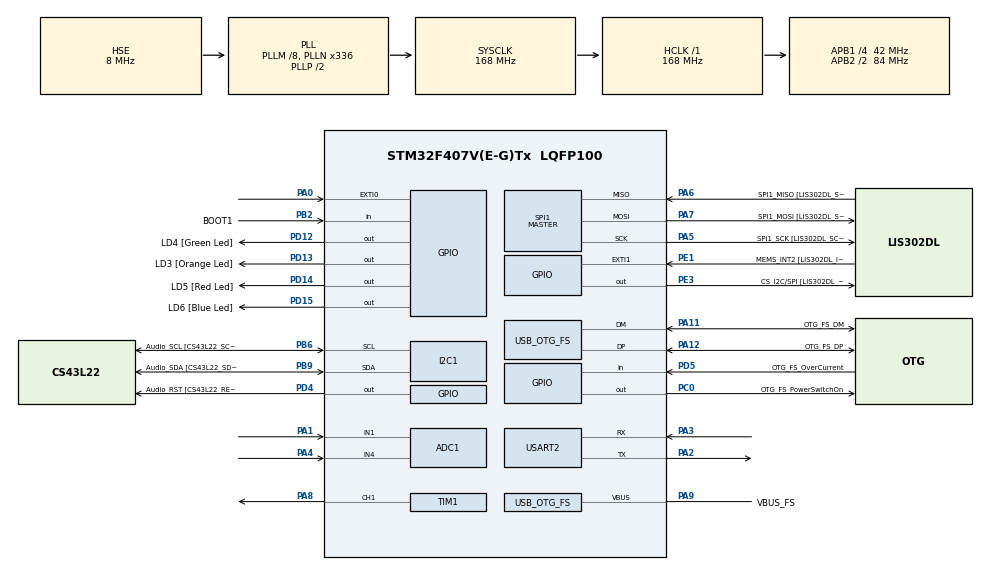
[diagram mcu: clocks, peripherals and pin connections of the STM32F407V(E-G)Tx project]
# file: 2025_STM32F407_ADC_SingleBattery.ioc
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ADC1.Channel-0\#ChannelRegularConversion=ADC_CHANNEL_1
ADC1.ContinuousConvMode=ENABLE
ADC1.NbrOfConversionFlag=1
ADC1.Rank-0\#ChannelRegularConversion=1
ADC1.SamplingTime-0\#ChannelRegularConversion=ADC_SAMPLETIME_480CYCLES
ADC1.master=1
Dma.ADC1.0.Direction=DMA_PERIPH_TO_MEMORY
Dma.ADC1.0.FIFOMode=DMA_FIFOMODE_DISABLE
Dma.ADC1.0.Instance=DMA2_Stream0
Dma.ADC1.0.MemDataAlignment=DMA_MDATAALIGN_WORD
Dma.ADC1.0.MemInc=DMA_MINC_ENABLE
Dma.ADC1.0.Mode=DMA_CIRCULAR
Dma.ADC1.0.PeriphDataAlignment=DMA_PDATAALIGN_WORD
Dma.ADC1.0.PeriphInc=DMA_PINC_DISABLE
Dma.ADC1.0.Priority=DMA_PRIORITY_LOW
Dma.Request0=ADC1
Mcu.Family=STM32F4
Mcu.Name=STM32F407V(E-G)Tx
Mcu.Package=LQFP100
NVIC.ADC_IRQn=true\:0\:0\:false\:false\:true\:true\:true\:true
NVIC.DMA2_Stream0_IRQn=true\:0\:0\:false\:false\:true\:false\:true\:true
NVIC.EXTI0_IRQn=true\:0\:0\:false\:false\:true\:true\:true\:true
NVIC.OTG_FS_IRQn=true\:0\:0\:false\:false\:true\:true\:true\:true
NVIC.PriorityGroup=NVIC_PRIORITYGROUP_0
PA0-WKUP.Signal=GPXTI0
PA1.Signal=ADCx_IN1
PA10.GPIO_Label=OTG_FS_ID
PA10.GPIO_Mode=GPIO_MODE_AF_PP
PA10.GPIO_PuPd=GPIO_NOPULL
PA10.GPIO_Speed=GPIO_SPEED_FREQ_LOW
PA10.Signal=USB_OTG_FS_ID
PA11.GPIO_Label=OTG_FS_DM
PA11.GPIO_Mode=GPIO_MODE_AF_PP
PA11.GPIO_PuPd=GPIO_NOPULL
PA11.GPIO_Speed=GPIO_SPEED_FREQ_LOW
PA11.Mode=Host_Only
PA11.Signal=USB_OTG_FS_DM
PA12.GPIO_Label=OTG_FS_DP
PA12.GPIO_Mode=GPIO_MODE_AF_PP
PA12.GPIO_PuPd=GPIO_NOPULL
PA12.GPIO_Speed=GPIO_SPEED_FREQ_LOW
PA12.Mode=Host_Only
PA12.Signal=USB_OTG_FS_DP
PA13.GPIO_Label=SWDIO
PA13.Mode=Serial_Wire
PA13.Signal=SYS_JTMS-SWDIO
PA14.GPIO_Label=SWCLK
PA14.Mode=Serial_Wire
PA14.Signal=SYS_JTCK-SWCLK
PA2.Mode=Asynchronous
PA2.Signal=USART2_TX
PA3.Mode=Asynchronous
PA3.Signal=USART2_RX
PA4.Signal=ADCx_IN4
PA5.GPIO_Label=SPI1_SCK [LIS302DL_SCL/SPC]
PA5.GPIO_Mode=GPIO_MODE_AF_PP
PA5.GPIO_PuPd=GPIO_NOPULL
PA5.GPIO_Speed=GPIO_SPEED_FREQ_LOW
PA5.Mode=Full_Duplex_Master
PA5.Signal=SPI1_SCK
PA6.GPIO_Label=SPI1_MISO [LIS302DL_SDO]
PA6.GPIO_Mode=GPIO_MODE_AF_PP
PA6.GPIO_PuPd=GPIO_NOPULL
PA6.GPIO_Speed=GPIO_SPEED_FREQ_LOW
PA6.Mode=Full_Duplex_Master
PA6.Signal=SPI1_MISO
PA7.GPIO_Label=SPI1_MOSI [LIS302DL_SDA/SDI/SDO]
PA7.GPIO_Mode=GPIO_MODE_AF_PP
PA7.GPIO_PuPd=GPIO_NOPULL
PA7.GPIO_Speed=GPIO_SPEED_FREQ_LOW
PA7.Mode=Full_Duplex_Master
PA7.Signal=SPI1_MOSI
PA8.Signal=S_TIM1_CH1
PA9.GPIO_Label=VBUS_FS
PA9.GPIO_Mode=GPIO_MODE_INPUT
PA9.GPIO_PuPd=GPIO_NOPULL
PA9.Mode=Activate_VBUS
PA9.Signal=USB_OTG_FS_VBUS
PB10.GPIO_Label=CLK_IN [MP45DT02_CLK]
PB10.GPIO_Mode=GPIO_MODE_AF_PP
PB10.GPIO_PuPd=GPIO_NOPULL
PB10.GPIO_Speed=GPIO_SPEED_FREQ_LOW
PB10.Signal=I2S2_CK
PB2.GPIO_Label=BOOT1
PB2.GPIO_Mode=GPIO_MODE_INPUT
PB2.GPIO_PuPd=GPIO_NOPULL
PB2.Signal=GPIO_Input
PB3.GPIO_Label=SWO
PB3.Signal=SYS_JTDO-SWO
PB6.GPIO_Label=Audio_SCL [CS43L22_SCL]
PB6.GPIO_Mode=GPIO_MODE_AF_OD
PB6.GPIO_Pu=GPIO_PULLUP
PB6.GPIO_PuPd=GPIO_NOPULL
PB6.GPIO_Speed=GPIO_SPEED_FREQ_LOW
PB6.Mode=I2C
PB6.Signal=I2C1_SCL
PB9.GPIO_Label=Audio_SDA [CS43L22_SDA]
PB9.GPIO_Mode=GPIO_MODE_AF_OD
PB9.GPIO_Pu=GPIO_PULLUP
PB9.GPIO_PuPd=GPIO_NOPULL
PB9.GPIO_Speed=GPIO_SPEED_FREQ_LOW
PB9.Mode=I2C
PB9.Signal=I2C1_SDA
PC0.GPIO_Label=OTG_FS_PowerSwitchOn
PC0.GPIO_PuPd=GPIO_NOPULL
PC0.GPIO_Speed=GPIO_SPEED_FREQ_LOW
PC0.PinState=GPIO_PIN_SET
PC0.Signal=GPIO_Output
PC10.GPIO_Label=I2S3_SCK [CS43L22_SCLK]
PC10.GPIO_Mode=GPIO_MODE_AF_PP
PC10.GPIO_PuPd=GPIO_NOPULL
PC10.GPIO_Speed=GPIO_SPEED_FREQ_LOW
PC10.Signal=I2S3_CK
PC12.GPIO_Label=I2S3_SD [CS43L22_SDIN]
PC12.GPIO_Mode=GPIO_MODE_AF_PP
PC12.GPIO_PuPd=GPIO_NOPULL
PC12.GPIO_Speed=GPIO_SPEED_FREQ_LOW
PC12.Signal=I2S3_SD
PC14-OSC32_IN.GPIO_Label=PC14-OSC32_IN
PC14-OSC32_IN.Mode=LSE-External-Oscillator
PC14-OSC32_IN.Signal=RCC_OSC32_IN
PC15-OSC32_OUT.GPIO_Label=PC15-OSC32_OUT
PC15-OSC32_OUT.Mode=LSE-External-Oscillator
PC15-OSC32_OUT.Signal=RCC_OSC32_OUT
PC3.GPIO_Label=PDM_OUT [MP45DT02_DOUT]
PC3.GPIO_Mode=GPIO_MODE_AF_PP
PC3.GPIO_PuPd=GPIO_NOPULL
PC3.GPIO_Speed=GPIO_SPEED_FREQ_LOW
PC3.Signal=I2S2_SD
PC7.GPIO_Label=I2S3_MCK [CS43L22_MCLK]
PC7.GPIO_Mode=GPIO_MODE_AF_PP
PC7.GPIO_PuPd=GPIO_NOPULL
PC7.GPIO_Speed=GPIO_SPEED_FREQ_LOW
PC7.Signal=I2S3_MCK
PD12.GPIO_Label=LD4 [Green Led]
PD12.GPIO_PuPd=GPIO_NOPULL
PD12.GPIO_Speed=GPIO_SPEED_FREQ_LOW
PD12.Signal=GPIO_Output
PD13.GPIO_Label=LD3 [Orange Led]
PD13.GPIO_PuPd=GPIO_NOPULL
PD13.GPIO_Speed=GPIO_SPEED_FREQ_LOW
PD13.Signal=GPIO_Output
PD14.GPIO_Label=LD5 [Red Led]
PD14.GPIO_PuPd=GPIO_NOPULL
PD14.GPIO_Speed=GPIO_SPEED_FREQ_LOW
PD14.Signal=GPIO_Output
PD15.GPIO_Label=LD6 [Blue Led]
PD15.GPIO_PuPd=GPIO_NOPULL
PD15.GPIO_Speed=GPIO_SPEED_FREQ_LOW
PD15.Signal=GPIO_Output
PD4.GPIO_Label=Audio_RST [CS43L22_RESET]
PD4.GPIO_PuPd=GPIO_NOPULL
PD4.GPIO_Speed=GPIO_SPEED_FREQ_LOW
PD4.Signal=GPIO_Output
PD5.GPIO_Label=OTG_FS_OverCurrent
PD5.GPIO_Mode=GPIO_MODE_INPUT
PD5.GPIO_PuPd=GPIO_NOPULL
PD5.Signal=GPIO_Input
PE1.GPIO_Label=MEMS_INT2 [LIS302DL_INT2]
PE1.GPIO_ModeDefaultEXTI=GPIO_MODE_EVT_RISING
PE1.GPIO_PuPd=GPIO_NOPULL
PE1.Signal=GPXTI1
PE3.GPIO_Label=CS_I2C/SPI [LIS302DL_CS_I2C/SPI]
PE3.GPIO_PuPd=GPIO_NOPULL
PE3.GPIO_Speed=GPIO_SPEED_FREQ_LOW
PE3.Signal=GPIO_Output
PH0-OSC_IN.GPIO_Label=PH0-OSC_IN
PH0-OSC_IN.Mode=HSE-External-Oscillator
PH0-OSC_IN.Signal=RCC_OSC_IN
PH1-OSC_OUT.GPIO_Label=PH1-OSC_OUT
PH1-OSC_OUT.Mode=HSE-External-Oscillator
PH1-OSC_OUT.Signal=RCC_OSC_OUT
ProjectManager.HeapSize=0x200
ProjectManager.StackSize=0x400
ProjectManager.TargetToolchain=STM32CubeIDE
RCC.48MHZClocksFreq_Value=48000000
RCC.AHBFreq_Value=168000000
RCC.APB1CLKDivider=RCC_HCLK_DIV4
RCC.APB1Freq_Value=42000000
RCC.APB1TimFreq_Value=84000000
RCC.APB2CLKDivider=RCC_HCLK_DIV2
RCC.APB2Freq_Value=84000000
RCC.APB2TimFreq_Value=168000000
RCC.CortexFreq_Value=168000000
RCC.HCLKFreq_Value=168000000
RCC.HSE_VALUE=8000000
RCC.HSI_VALUE=16000000
RCC.PLLM=8
RCC.PLLN=336
RCC.PLLQ=7
RCC.SYSCLKFreq_VALUE=168000000
RCC.SYSCLKSource=RCC_SYSCLKSOURCE_PLLCLK
RCC.VCOOutputFreq_Value=336000000
SH.ADCx_IN1.0=ADC1_IN1,IN1
SH.ADCx_IN4.0=ADC1_IN4,IN4
SH.S_TIM1_CH1.0=TIM1_CH1,PWM Generation1 CH1
SPI1.BaudRatePrescaler-Full_Duplex_Master=SPI_BAUDRATEPRESCALER_2
SPI1.CalculateBaudRate-Full_Duplex_Master=42.0 MBits/s
SPI1.Direction=SPI_DIRECTION_2LINES
SPI1.Mode=SPI_MODE_MASTER
SPI1.Mode-Full_Duplex_Master=SPI_MODE_MASTER
SPI1.VirtualType=VM_MASTER
TIM1.Channel-PWM\ Generation1\ CH1=TIM_CHANNEL_1
TIM1.Period=100
TIM1.Prescaler=83
USART2.VirtualMode=VM_ASYNC
USB_HOST.BSP.number=1
USB_HOST.USBH_HandleTypeDef-CDC_FS=hUsbHostFS
USB_HOST.VirtualModeFS=Cdc
USB_HOST0.BSP.STBoard=false
USB_HOST0.BSP.api=Unknown
USB_HOST0.BSP.instance=PC0
USB_HOST0.BSP.ip=GPIO
USB_HOST0.BSP.mode=Output
USB_HOST0.BSP.name=Drive_VBUS_FS
USB_HOST0.BSP.solution=PC0
USB_OTG_FS.VirtualMode=Host_Only
USB_OTG_FS.phy_itface=HCD_PHY_EMBEDDED
VP_USB_HOST_VS_USB_HOST_CDC_FS.Mode=CDC_FS
board=STM32F407G-DISC1

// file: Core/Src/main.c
/* USER CODE BEGIN Header */
/**
  ******************************************************************************
  * @file           : main.c
  * @brief          : Main program body
  ******************************************************************************
  * @attention
  *
  * Copyright (c) 2025 STMicroelectronics.
  * All rights reserved.
  *
  * This software is licensed under terms that can be found in the LICENSE file
  * in the root directory of this software component.
  * If no LICENSE file comes with this software, it is provided AS-IS.
  *
  ******************************************************************************
  */
/* USER CODE END Header */
#include "main.h"
#include "usb_host.h"

/* USER CODE BEGIN Includes */
#include <stdio.h>
#include <string.h>

/* USER CODE END Includes */

ADC_HandleTypeDef hadc1;
DMA_HandleTypeDef hdma_adc1;

I2C_HandleTypeDef hi2c1;

SPI_HandleTypeDef hspi1;

TIM_HandleTypeDef htim1;

UART_HandleTypeDef huart2;

void SystemClock_Config(void);
static void MX_GPIO_Init(void);
static void MX_DMA_Init(void);
static void MX_I2C1_Init(void);
static void MX_SPI1_Init(void);
static void MX_TIM1_Init(void);
static void MX_ADC1_Init(void);
static void MX_USART2_UART_Init(void);
void MX_USB_HOST_Process(void);

/* USER CODE BEGIN PFP */
// Function prototypes
void handleButtonClick(void);
void stopMotors(void);
void rotateMotorCCW(void);
void rotateMotorCW(void);
/* USER CODE END PFP */

/* USER CODE BEGIN 0 */
int __io_putchar(int ch) {
  HAL_UART_Transmit(&huart2, (uint8_t *)&ch, 1, HAL_MAX_DELAY);
  return ch;
}

volatile uint32_t adc_value = 0;
volatile uint8_t button_clicks = 0;
volatile uint32_t last_button_press_time = 0;
volatile uint8_t motor_direction = 0;

int __io_putchar(int ch); // function prototype
float getBatteryVoltage(void); // function prototype
void updateMotorControl(float battery_voltage); // function prototype
/* USER CODE END 0 */

int main(void)
{

  /* MCU Configuration--------------------------------------------------------*/

  /* Reset of all peripherals, Initializes the Flash interface and the Systick. */
  HAL_Init();

  /* Configure the system clock */
  SystemClock_Config();

  /* Initialize all configured peripherals */
  MX_GPIO_Init();
  MX_DMA_Init();
  MX_I2C1_Init();
  MX_SPI1_Init();
  MX_USB_HOST_Init();
  MX_TIM1_Init();
  MX_ADC1_Init();
  MX_USART2_UART_Init();
  /* USER CODE BEGIN 2 */
   HAL_ADC_Start_DMA(&hadc1, (uint32_t*)&adc_value, 1);
   printf("Battery monitor started (ADC1 CH1 / PA1)...\r\n");

   HAL_ADC_Start_DMA(&hadc1, (uint32_t*)&adc_value, 1);
   HAL_TIM_PWM_Start(&htim1, TIM_CHANNEL_1);

  /* USER CODE END 2 */

  /* Infinite loop */
  /* USER CODE BEGIN WHILE */
  while (1)
  {
	  MX_USB_HOST_Process();  // Keep if you're using USB

	  float vbat = getBatteryVoltage();
	  updateMotorControl(vbat);
	  printf("Battery Voltage: %.2f V | ADC: %lu | Mode: %d\r\n", vbat, adc_value, motor_direction);
	  HAL_GPIO_TogglePin(GPIOD, LD3_Pin); // blink LED
	  HAL_Delay(1000);
	    /* USER CODE END 3 */

    /* USER CODE END WHILE */
    MX_USB_HOST_Process();

  }
}

void SystemClock_Config(void)
{
  RCC_OscInitTypeDef RCC_OscInitStruct = {0};
  RCC_ClkInitTypeDef RCC_ClkInitStruct = {0};

  /** Configure the main internal regulator output voltage
  */
  __HAL_RCC_PWR_CLK_ENABLE();
  __HAL_PWR_VOLTAGESCALING_CONFIG(PWR_REGULATOR_VOLTAGE_SCALE1);

  /** Initializes the RCC Oscillators according to the specified parameters
  * in the RCC_OscInitTypeDef structure.
  */
  RCC_OscInitStruct.OscillatorType = RCC_OSCILLATORTYPE_HSE;
  RCC_OscInitStruct.HSEState = RCC_HSE_ON;
  RCC_OscInitStruct.PLL.PLLState = RCC_PLL_ON;
  RCC_OscInitStruct.PLL.PLLSource = RCC_PLLSOURCE_HSE;
  RCC_OscInitStruct.PLL.PLLM = 8;
  RCC_OscInitStruct.PLL.PLLN = 336;
  RCC_OscInitStruct.PLL.PLLP = RCC_PLLP_DIV2;
  RCC_OscInitStruct.PLL.PLLQ = 7;
  if (HAL_RCC_OscConfig(&RCC_OscInitStruct) != HAL_OK)
  {
    Error_Handler();
  }

  /** Initializes the CPU, AHB and APB buses clocks
  */
  RCC_ClkInitStruct.ClockType = RCC_CLOCKTYPE_HCLK|RCC_CLOCKTYPE_SYSCLK
                              |RCC_CLOCKTYPE_PCLK1|RCC_CLOCKTYPE_PCLK2;
  RCC_ClkInitStruct.SYSCLKSource = RCC_SYSCLKSOURCE_PLLCLK;
  RCC_ClkInitStruct.AHBCLKDivider = RCC_SYSCLK_DIV1;
  RCC_ClkInitStruct.APB1CLKDivider = RCC_HCLK_DIV4;
  RCC_ClkInitStruct.APB2CLKDivider = RCC_HCLK_DIV2;

  if (HAL_RCC_ClockConfig(&RCC_ClkInitStruct, FLASH_LATENCY_5) != HAL_OK)
  {
    Error_Handler();
  }
}

static void MX_ADC1_Init(void)
{

  ADC_ChannelConfTypeDef sConfig = {0};

  /** Configure the global features of the ADC (Clock, Resolution, Data Alignment and number of conversion)
  */
  hadc1.Instance = ADC1;
  hadc1.Init.ClockPrescaler = ADC_CLOCK_SYNC_PCLK_DIV4;
  hadc1.Init.Resolution = ADC_RESOLUTION_12B;
  hadc1.Init.ScanConvMode = DISABLE;
  hadc1.Init.ContinuousConvMode = ENABLE;
  hadc1.Init.DiscontinuousConvMode = DISABLE;
  hadc1.Init.ExternalTrigConvEdge = ADC_EXTERNALTRIGCONVEDGE_NONE;
  hadc1.Init.ExternalTrigConv = ADC_SOFTWARE_START;
  hadc1.Init.DataAlign = ADC_DATAALIGN_RIGHT;
  hadc1.Init.NbrOfConversion = 1;
  hadc1.Init.DMAContinuousRequests = DISABLE;
  hadc1.Init.EOCSelection = ADC_EOC_SINGLE_CONV;
  if (HAL_ADC_Init(&hadc1) != HAL_OK)
  {
    Error_Handler();
  }

  /** Configure for the selected ADC regular channel its corresponding rank in the sequencer and its sample time.
  */
  sConfig.Channel = ADC_CHANNEL_1;
  sConfig.Rank = 1;
  sConfig.SamplingTime = ADC_SAMPLETIME_480CYCLES;
  if (HAL_ADC_ConfigChannel(&hadc1, &sConfig) != HAL_OK)
  {
    Error_Handler();
  }

}

static void MX_I2C1_Init(void)
{

  hi2c1.Instance = I2C1;
  hi2c1.Init.ClockSpeed = 100000;
  hi2c1.Init.DutyCycle = I2C_DUTYCYCLE_2;
  hi2c1.Init.OwnAddress1 = 0;
  hi2c1.Init.AddressingMode = I2C_ADDRESSINGMODE_7BIT;
  hi2c1.Init.DualAddressMode = I2C_DUALADDRESS_DISABLE;
  hi2c1.Init.OwnAddress2 = 0;
  hi2c1.Init.GeneralCallMode = I2C_GENERALCALL_DISABLE;
  hi2c1.Init.NoStretchMode = I2C_NOSTRETCH_DISABLE;
  if (HAL_I2C_Init(&hi2c1) != HAL_OK)
  {
    Error_Handler();
  }

}

static void MX_SPI1_Init(void)
{

  /* SPI1 parameter configuration*/
  hspi1.Instance = SPI1;
  hspi1.Init.Mode = SPI_MODE_MASTER;
  hspi1.Init.Direction = SPI_DIRECTION_2LINES;
  hspi1.Init.DataSize = SPI_DATASIZE_8BIT;
  hspi1.Init.CLKPolarity = SPI_POLARITY_LOW;
  hspi1.Init.CLKPhase = SPI_PHASE_1EDGE;
  hspi1.Init.NSS = SPI_NSS_SOFT;
  hspi1.Init.BaudRatePrescaler = SPI_BAUDRATEPRESCALER_2;
  hspi1.Init.FirstBit = SPI_FIRSTBIT_MSB;
  hspi1.Init.TIMode = SPI_TIMODE_DISABLE;
  hspi1.Init.CRCCalculation = SPI_CRCCALCULATION_DISABLE;
  hspi1.Init.CRCPolynomial = 10;
  if (HAL_SPI_Init(&hspi1) != HAL_OK)
  {
    Error_Handler();
  }

}

static void MX_TIM1_Init(void)
{

  TIM_MasterConfigTypeDef sMasterConfig = {0};
  TIM_OC_InitTypeDef sConfigOC = {0};
  TIM_BreakDeadTimeConfigTypeDef sBreakDeadTimeConfig = {0};

  htim1.Instance = TIM1;
  htim1.Init.Prescaler = 83;
  htim1.Init.CounterMode = TIM_COUNTERMODE_UP;
  htim1.Init.Period = 100;
  htim1.Init.ClockDivision = TIM_CLOCKDIVISION_DIV1;
  htim1.Init.RepetitionCounter = 0;
  htim1.Init.AutoReloadPreload = TIM_AUTORELOAD_PRELOAD_DISABLE;
  if (HAL_TIM_PWM_Init(&htim1) != HAL_OK)
  {
    Error_Handler();
  }
  sMasterConfig.MasterOutputTrigger = TIM_TRGO_RESET;
  sMasterConfig.MasterSlaveMode = TIM_MASTERSLAVEMODE_DISABLE;
  if (HAL_TIMEx_MasterConfigSynchronization(&htim1, &sMasterConfig) != HAL_OK)
  {
    Error_Handler();
  }
  sConfigOC.OCMode = TIM_OCMODE_PWM1;
  sConfigOC.Pulse = 0;
  sConfigOC.OCPolarity = TIM_OCPOLARITY_HIGH;
  sConfigOC.OCNPolarity = TIM_OCNPOLARITY_HIGH;
  sConfigOC.OCFastMode = TIM_OCFAST_DISABLE;
  sConfigOC.OCIdleState = TIM_OCIDLESTATE_RESET;
  sConfigOC.OCNIdleState = TIM_OCNIDLESTATE_RESET;
  if (HAL_TIM_PWM_ConfigChannel(&htim1, &sConfigOC, TIM_CHANNEL_1) != HAL_OK)
  {
    Error_Handler();
  }
  sBreakDeadTimeConfig.OffStateRunMode = TIM_OSSR_DISABLE;
  sBreakDeadTimeConfig.OffStateIDLEMode = TIM_OSSI_DISABLE;
  sBreakDeadTimeConfig.LockLevel = TIM_LOCKLEVEL_OFF;
  sBreakDeadTimeConfig.DeadTime = 0;
  sBreakDeadTimeConfig.BreakState = TIM_BREAK_DISABLE;
  sBreakDeadTimeConfig.BreakPolarity = TIM_BREAKPOLARITY_HIGH;
  sBreakDeadTimeConfig.AutomaticOutput = TIM_AUTOMATICOUTPUT_DISABLE;
  if (HAL_TIMEx_ConfigBreakDeadTime(&htim1, &sBreakDeadTimeConfig) != HAL_OK)
  {
    Error_Handler();
  }
  HAL_TIM_MspPostInit(&htim1);

}

static void MX_USART2_UART_Init(void)
{

  huart2.Instance = USART2;
  huart2.Init.BaudRate = 115200;
  huart2.Init.WordLength = UART_WORDLENGTH_8B;
  huart2.Init.StopBits = UART_STOPBITS_1;
  huart2.Init.Parity = UART_PARITY_NONE;
  huart2.Init.Mode = UART_MODE_TX_RX;
  huart2.Init.HwFlowCtl = UART_HWCONTROL_NONE;
  huart2.Init.OverSampling = UART_OVERSAMPLING_16;
  if (HAL_UART_Init(&huart2) != HAL_OK)
  {
    Error_Handler();
  }

}

static void MX_DMA_Init(void)
{

  /* DMA controller clock enable */
  __HAL_RCC_DMA2_CLK_ENABLE();

  /* DMA interrupt init */
  /* DMA2_Stream0_IRQn interrupt configuration */
  HAL_NVIC_SetPriority(DMA2_Stream0_IRQn, 0, 0);
  HAL_NVIC_EnableIRQ(DMA2_Stream0_IRQn);

}

static void MX_GPIO_Init(void)
{
  GPIO_InitTypeDef GPIO_InitStruct = {0};

  /* GPIO Ports Clock Enable */
  __HAL_RCC_GPIOE_CLK_ENABLE();
  __HAL_RCC_GPIOC_CLK_ENABLE();
  __HAL_RCC_GPIOH_CLK_ENABLE();
  __HAL_RCC_GPIOA_CLK_ENABLE();
  __HAL_RCC_GPIOB_CLK_ENABLE();
  __HAL_RCC_GPIOD_CLK_ENABLE();

  /*Configure GPIO pin Output Level */
  HAL_GPIO_WritePin(CS_I2C_SPI_GPIO_Port, CS_I2C_SPI_Pin, GPIO_PIN_RESET);

  /*Configure GPIO pin Output Level */
  HAL_GPIO_WritePin(OTG_FS_PowerSwitchOn_GPIO_Port, OTG_FS_PowerSwitchOn_Pin, GPIO_PIN_SET);

  /*Configure GPIO pin Output Level */
  HAL_GPIO_WritePin(GPIOD, LD4_Pin|LD3_Pin|LD5_Pin|LD6_Pin
                          |Audio_RST_Pin, GPIO_PIN_RESET);

  /*Configure GPIO pin : CS_I2C_SPI_Pin */
  GPIO_InitStruct.Pin = CS_I2C_SPI_Pin;
  GPIO_InitStruct.Mode = GPIO_MODE_OUTPUT_PP;
  GPIO_InitStruct.Pull = GPIO_NOPULL;
  GPIO_InitStruct.Speed = GPIO_SPEED_FREQ_LOW;
  HAL_GPIO_Init(CS_I2C_SPI_GPIO_Port, &GPIO_InitStruct);

  /*Configure GPIO pin : OTG_FS_PowerSwitchOn_Pin */
  GPIO_InitStruct.Pin = OTG_FS_PowerSwitchOn_Pin;
  GPIO_InitStruct.Mode = GPIO_MODE_OUTPUT_PP;
  GPIO_InitStruct.Pull = GPIO_NOPULL;
  GPIO_InitStruct.Speed = GPIO_SPEED_FREQ_LOW;
  HAL_GPIO_Init(OTG_FS_PowerSwitchOn_GPIO_Port, &GPIO_InitStruct);

  /*Configure GPIO pin : PDM_OUT_Pin */
  GPIO_InitStruct.Pin = PDM_OUT_Pin;
  GPIO_InitStruct.Mode = GPIO_MODE_AF_PP;
  GPIO_InitStruct.Pull = GPIO_NOPULL;
  GPIO_InitStruct.Speed = GPIO_SPEED_FREQ_LOW;
  GPIO_InitStruct.Alternate = GPIO_AF5_SPI2;
  HAL_GPIO_Init(PDM_OUT_GPIO_Port, &GPIO_InitStruct);

  /*Configure GPIO pin : PA0 */
  GPIO_InitStruct.Pin = GPIO_PIN_0;
  GPIO_InitStruct.Mode = GPIO_MODE_IT_RISING;
  GPIO_InitStruct.Pull = GPIO_NOPULL;
  HAL_GPIO_Init(GPIOA, &GPIO_InitStruct);

  /*Configure GPIO pin : BOOT1_Pin */
  GPIO_InitStruct.Pin = BOOT1_Pin;
  GPIO_InitStruct.Mode = GPIO_MODE_INPUT;
  GPIO_InitStruct.Pull = GPIO_NOPULL;
  HAL_GPIO_Init(BOOT1_GPIO_Port, &GPIO_InitStruct);

  /*Configure GPIO pin : CLK_IN_Pin */
  GPIO_InitStruct.Pin = CLK_IN_Pin;
  GPIO_InitStruct.Mode = GPIO_MODE_AF_PP;
  GPIO_InitStruct.Pull = GPIO_NOPULL;
  GPIO_InitStruct.Speed = GPIO_SPEED_FREQ_LOW;
  GPIO_InitStruct.Alternate = GPIO_AF5_SPI2;
  HAL_GPIO_Init(CLK_IN_GPIO_Port, &GPIO_InitStruct);

  /*Configure GPIO pins : LD4_Pin LD3_Pin LD5_Pin LD6_Pin
                           Audio_RST_Pin */
  GPIO_InitStruct.Pin = LD4_Pin|LD3_Pin|LD5_Pin|LD6_Pin
                          |Audio_RST_Pin;
  GPIO_InitStruct.Mode = GPIO_MODE_OUTPUT_PP;
  GPIO_InitStruct.Pull = GPIO_NOPULL;
  GPIO_InitStruct.Speed = GPIO_SPEED_FREQ_LOW;
  HAL_GPIO_Init(GPIOD, &GPIO_InitStruct);

  /*Configure GPIO pins : I2S3_MCK_Pin I2S3_SCK_Pin I2S3_SD_Pin */
  GPIO_InitStruct.Pin = I2S3_MCK_Pin|I2S3_SCK_Pin|I2S3_SD_Pin;
  GPIO_InitStruct.Mode = GPIO_MODE_AF_PP;
  GPIO_InitStruct.Pull = GPIO_NOPULL;
  GPIO_InitStruct.Speed = GPIO_SPEED_FREQ_LOW;
  GPIO_InitStruct.Alternate = GPIO_AF6_SPI3;
  HAL_GPIO_Init(GPIOC, &GPIO_InitStruct);

  /*Configure GPIO pin : OTG_FS_OverCurrent_Pin */
  GPIO_InitStruct.Pin = OTG_FS_OverCurrent_Pin;
  GPIO_InitStruct.Mode = GPIO_MODE_INPUT;
  GPIO_InitStruct.Pull = GPIO_NOPULL;
  HAL_GPIO_Init(OTG_FS_OverCurrent_GPIO_Port, &GPIO_InitStruct);

  /*Configure GPIO pin : MEMS_INT2_Pin */
  GPIO_InitStruct.Pin = MEMS_INT2_Pin;
  GPIO_InitStruct.Mode = GPIO_MODE_EVT_RISING;
  GPIO_InitStruct.Pull = GPIO_NOPULL;
  HAL_GPIO_Init(MEMS_INT2_GPIO_Port, &GPIO_InitStruct);

  /* EXTI interrupt init*/
  HAL_NVIC_SetPriority(EXTI0_IRQn, 0, 0);
  HAL_NVIC_EnableIRQ(EXTI0_IRQn);

}

/* USER CODE BEGIN 4 */

void HAL_GPIO_EXTI_Callback(uint16_t GPIO_Pin)
{
    if (GPIO_Pin == GPIO_PIN_0)  // PA0
    {
        handleButtonClick();
    }
}
float getBatteryVoltage(void) {
  float voltage = (3.3f * adc_value) / 4095.0f;
  return voltage * 2.0f;
}

void updateMotorControl(float battery_voltage) {
  if (battery_voltage < 6.5f) {
    motor_direction = 0;
  } else if (battery_voltage > 7.0f && motor_direction == 0) {
    motor_direction = 1;
  }

  uint32_t pwm_duty = 0;

  if (battery_voltage >= 6.5f && battery_voltage <= 7.0f) {
    pwm_duty = (adc_value * 100) / 4095;
  }

  if (motor_direction == 0) pwm_duty = 0;

  __HAL_TIM_SET_COMPARE(&htim1, TIM_CHANNEL_1, pwm_duty);
}

void handleButtonClick(void)
{
    static uint32_t last_click_time = 0;
    static uint8_t click_count = 0;

    uint32_t current_time = HAL_GetTick();

    if ((current_time - last_click_time) > 400) {
        click_count = 0;
    }

    click_count++;
    last_click_time = current_time;

    HAL_Delay(50); // optional debounce
    HAL_Delay(450); // wait for possible additional clicks

    switch (click_count) {
        case 1:
            stopMotors();
            printf("Button: 1 click → Motor STOP\r\n");
            break;
        case 2:
            rotateMotorCCW();
            printf("Button: 2 clicks → Motor CCW\r\n");
            break;
        case 3:
            rotateMotorCW();
            printf("Button: 3 clicks → Motor CW\r\n");
            break;
        default:
            printf("Button: %d clicks (ignored)\r\n", click_count);
            break;
    }
}

void stopMotors() {
    __HAL_TIM_SET_COMPARE(&htim1, TIM_CHANNEL_1, 0);  // PWM = 0
}

void rotateMotorCCW() {
    uint32_t pwm_value = __HAL_TIM_GET_AUTORELOAD(&htim1) / 2;
    __HAL_TIM_SET_COMPARE(&htim1, TIM_CHANNEL_1, pwm_value);
    HAL_GPIO_WritePin(GPIOB, GPIO_PIN_0, GPIO_PIN_RESET);  // Example: CCW direction
}

void rotateMotorCW() {
    uint32_t pwm_value = __HAL_TIM_GET_AUTORELOAD(&htim1) / 2;
    __HAL_TIM_SET_COMPARE(&htim1, TIM_CHANNEL_1, pwm_value);
    HAL_GPIO_WritePin(GPIOB, GPIO_PIN_0, GPIO_PIN_SET);  // Example: CW direction
}

/* USER CODE END 4 */

void Error_Handler(void)
{
  __disable_irq();
  while (1)
  {
  }
}
